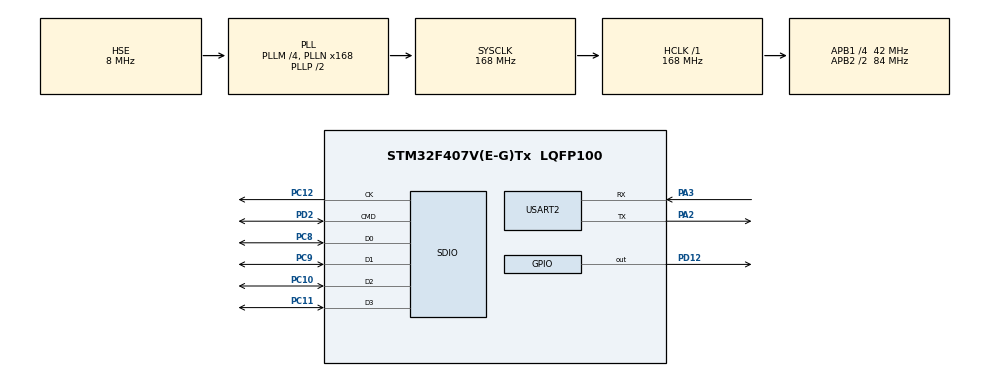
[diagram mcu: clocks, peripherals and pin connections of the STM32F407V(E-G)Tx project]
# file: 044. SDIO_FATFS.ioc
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FATFS._MAX_SS=4096
Mcu.Family=STM32F4
Mcu.Name=STM32F407V(E-G)Tx
Mcu.Package=LQFP100
NVIC.PriorityGroup=NVIC_PRIORITYGROUP_4
PA2.Mode=Asynchronous
PA2.Signal=USART2_TX
PA3.Mode=Asynchronous
PA3.Signal=USART2_RX
PC10.GPIO_PuPd=GPIO_PULLUP
PC10.Mode=SD_4_bits_Wide_bus
PC10.Signal=SDIO_D2
PC11.GPIO_PuPd=GPIO_PULLUP
PC11.Mode=SD_4_bits_Wide_bus
PC11.Signal=SDIO_D3
PC12.Mode=SD_4_bits_Wide_bus
PC12.Signal=SDIO_CK
PC8.GPIO_PuPd=GPIO_PULLUP
PC8.Mode=SD_4_bits_Wide_bus
PC8.Signal=SDIO_D0
PC9.GPIO_PuPd=GPIO_PULLUP
PC9.Mode=SD_4_bits_Wide_bus
PC9.Signal=SDIO_D1
PD12.Signal=GPIO_Output
PD2.GPIO_PuPd=GPIO_PULLUP
PD2.Mode=SD_4_bits_Wide_bus
PD2.Signal=SDIO_CMD
PH0-OSC_IN.Mode=HSE-External-Clock-Source
PH0-OSC_IN.Signal=RCC_OSC_IN
PH1-OSC_OUT.Mode=HSE-External-Clock-Source
PH1-OSC_OUT.Signal=RCC_OSC_OUT
ProjectManager.HeapSize=0x200
ProjectManager.StackSize=0x400
ProjectManager.TargetToolchain=STM32CubeIDE
RCC.48MHZClocksFreq_Value=48000000
RCC.AHBFreq_Value=168000000
RCC.APB1CLKDivider=RCC_HCLK_DIV4
RCC.APB1Freq_Value=42000000
RCC.APB1TimFreq_Value=84000000
RCC.APB2CLKDivider=RCC_HCLK_DIV2
RCC.APB2Freq_Value=84000000
RCC.APB2TimFreq_Value=168000000
RCC.CortexFreq_Value=168000000
RCC.HCLKFreq_Value=168000000
RCC.HSE_VALUE=8000000
RCC.HSI_VALUE=16000000
RCC.LSE_VALUE=32768
RCC.PLLM=4
RCC.PLLN=168
RCC.PLLQ=7
RCC.PLLSourceVirtual=RCC_PLLSOURCE_HSE
RCC.SYSCLKFreq_VALUE=168000000
RCC.SYSCLKSource=RCC_SYSCLKSOURCE_PLLCLK
RCC.VCOOutputFreq_Value=336000000
USART2.VirtualMode=VM_ASYNC
VP_FATFS_VS_SDIO.Mode=SDIO
board=custom

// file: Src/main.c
/* USER CODE BEGIN Header */
/**
 ******************************************************************************
 * @file           : main.c
 * @brief          : Main program body
 ******************************************************************************
 * @attention
 *
 * <h2><center>&copy; Copyright (c) 2019 STMicroelectronics.
 * All rights reserved.</center></h2>
 *
 * This software component is licensed by ST under BSD 3-Clause license,
 * the "License"; You may not use this file except in compliance with the
 * License. You may obtain a copy of the License at:
 *                        opensource.org/licenses/BSD-3-Clause
 *
 ******************************************************************************
 */
/* USER CODE END Header */

#include "main.h"
#include "fatfs.h"
#include "sdio.h"
#include "usart.h"
#include "gpio.h"

/* USER CODE BEGIN Includes */
#include "print.h"
#include "file_handling.h"
/* USER CODE END Includes */

void SystemClock_Config(void);

/* USER CODE BEGIN 0 */
FATFS sd;
FIL in_file, out_file;
FILINFO fno;

extern char SDPath[4];

FRESULT res;                             /* FatFs function common result code */
uint32_t bytes_written, bytes_read;      /* File write/read counts */
char wtext[] = "Hello from Stm32!!!"; /* File write buffer */

uint8_t rtext[100];                      /* File read buffer */
/* USER CODE END 0 */

int main(void)
{

	/* MCU Configuration--------------------------------------------------------*/

	/* Reset of all peripherals, Initializes the Flash interface and the Systick. */
	HAL_Init();

	/* Configure the system clock */
	SystemClock_Config();

	/* Initialize all configured peripherals */
	MX_GPIO_Init();
	MX_SDIO_SD_Init();
	MX_USART2_UART_Init();
	MX_FATFS_Init();
	/* USER CODE BEGIN 2 */

//	mount_sd();
//	create_file("out2.txt");
//	write_file("out.txt", wtext);

	if(f_mount(&sd, (const TCHAR *) SDPath, 0) != FR_OK)
	{
		printf2("Could not mount SD!");
		while(1);
	}

/*
	if(f_open(&in_file, "out.txt", FA_CREATE_ALWAYS|FA_READ|FA_WRITE) != FR_OK)
	{
		printf2("Could not create a file!");
		while(1);
	}

	res = f_close(&in_file);

*/

	res = f_open(&out_file, "out.txt", FA_OPEN_EXISTING | FA_WRITE);

	if(res != FR_OK)
	{
		printf2("Could not open a file!");
		while(1);
	}

	res = f_write(&out_file, wtext, sizeof(wtext), (void *) &bytes_written);

	if (res != FR_OK)
	{
		printf2("Write to file failed!");
		while(1);
	}

	HAL_Delay(1000);
	res = f_close(&out_file);

	/* USER CODE END 2 */

	/* Infinite loop */
	while (1)
	{

	}
}

void SystemClock_Config(void)
{
	RCC_OscInitTypeDef RCC_OscInitStruct = {0};
	RCC_ClkInitTypeDef RCC_ClkInitStruct = {0};

	/** Configure the main internal regulator output voltage
	 */
	__HAL_RCC_PWR_CLK_ENABLE();
	__HAL_PWR_VOLTAGESCALING_CONFIG(PWR_REGULATOR_VOLTAGE_SCALE1);
	/** Initializes the CPU, AHB and APB busses clocks
	 */
	RCC_OscInitStruct.OscillatorType = RCC_OSCILLATORTYPE_HSE;
	RCC_OscInitStruct.HSEState = RCC_HSE_BYPASS;
	RCC_OscInitStruct.PLL.PLLState = RCC_PLL_ON;
	RCC_OscInitStruct.PLL.PLLSource = RCC_PLLSOURCE_HSE;
	RCC_OscInitStruct.PLL.PLLM = 4;
	RCC_OscInitStruct.PLL.PLLN = 168;
	RCC_OscInitStruct.PLL.PLLP = RCC_PLLP_DIV2;
	RCC_OscInitStruct.PLL.PLLQ = 7;
	if (HAL_RCC_OscConfig(&RCC_OscInitStruct) != HAL_OK)
	{
		Error_Handler();
	}
	/** Initializes the CPU, AHB and APB busses clocks
	 */
	RCC_ClkInitStruct.ClockType = RCC_CLOCKTYPE_HCLK|RCC_CLOCKTYPE_SYSCLK
			|RCC_CLOCKTYPE_PCLK1|RCC_CLOCKTYPE_PCLK2;
	RCC_ClkInitStruct.SYSCLKSource = RCC_SYSCLKSOURCE_PLLCLK;
	RCC_ClkInitStruct.AHBCLKDivider = RCC_SYSCLK_DIV1;
	RCC_ClkInitStruct.APB1CLKDivider = RCC_HCLK_DIV4;
	RCC_ClkInitStruct.APB2CLKDivider = RCC_HCLK_DIV2;

	if (HAL_RCC_ClockConfig(&RCC_ClkInitStruct, FLASH_LATENCY_5) != HAL_OK)
	{
		Error_Handler();
	}
}

void Error_Handler(void)
{
}

/************************ (C) COPYRIGHT STMicroelectronics *****END OF FILE****/
